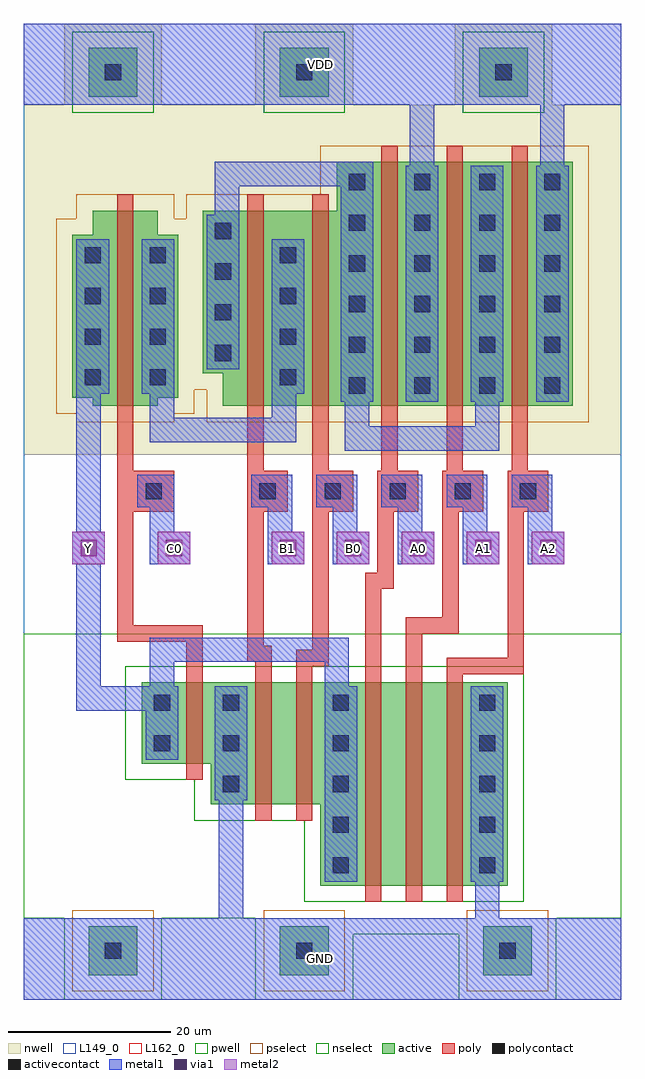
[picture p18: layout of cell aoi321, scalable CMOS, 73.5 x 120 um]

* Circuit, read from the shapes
.subckt aoi321 A0 A1 A2 B0 B1 C0 GND VDD Y
M1 GND C0 Y GND nfet w=10u l=2u
M2 n1 B1 GND GND nfet w=15u l=2u
M3 Y B0 n1 GND nfet w=15u l=2u
M4 n2 A0 Y GND nfet w=25u l=2u
M5 n3 A1 n2 GND nfet w=25u l=2u
M6 GND A2 n3 GND nfet w=25u l=2u
M7 n4 C0 Y VDD pfet w=24u l=2u
M8 n4 B1 n5 VDD pfet w=24u l=2u
M9 n5 B0 n4 VDD pfet w=24u l=2u
M10 VDD A0 n5 VDD pfet w=30u l=2u
M11 n5 A1 VDD VDD pfet w=30u l=2u
M12 VDD A2 n5 VDD pfet w=30u l=2u
.ends

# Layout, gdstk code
import gdstk
lib = gdstk.Library(unit=1e-6, precision=1e-09)
def R(c, l, rs):  # rectangles x0, y0, x1, y1
    for r in rs: c.add(gdstk.rectangle(r[:2], r[2:], *l))
def A(c, l, x, y, w, h, nx, ny, dx, dy):  # array of equal rectangles
    R(c, l, [(x+i*dx, y+j*dy, x+i*dx+w, y+j*dy+h) for i in range(nx) for j in range(ny)])
def P(c, l, *ps):  # polygons
    for p in ps: c.add(gdstk.Polygon(p, *l))
pwell = (41, 0)
nwell = (42, 0)
active = (43, 0)
pselect = (44, 0)
nselect = (45, 0)
poly = (46, 0)
polycontact = (47, 0)
activecontact = (48, 0)
metal1 = (49, 0)
via1 = (50, 0)
metal2 = (51, 0)
L149_0 = (149, 0)
L162_0 = (162, 0)

nwell_contact = lib.new_cell('nwell_contact')
R(nwell_contact, nwell, [(-6,-5,6,6)])
R(nwell_contact, active, [(-3,-3,3,3)])
R(nwell_contact, nselect, [(-5,-5,5,5)])
R(nwell_contact, activecontact, [(-1,-1,1,1)])

pwell_contact = lib.new_cell('pwell_contact')
R(pwell_contact, pwell, [(-6,-6,6,5)])
R(pwell_contact, active, [(-3,-3,3,3)])
R(pwell_contact, pselect, [(-5,-5,5,5)])
R(pwell_contact, activecontact, [(-1,-1,1,1)])

via = lib.new_cell('via')
R(via, metal1, [(-2,-2,2,2)])
R(via, via1, [(-1,-1,1,1)])
R(via, metal2, [(-2,-2,2,2)])

aoi321 = lib.new_cell('aoi321')
R(aoi321, pwell, [(0,10,73.5,45), (0,10,73.5,20)])
P(aoi321, pwell, [(30.5,8),(30.5,18),(17,18),(17,23),(8.5,23),(8.5,45),(65.5,45),(65.5,8)])
R(aoi321, nwell, [(0,67,73.5,110), (0,95,73.5,110)])
P(aoi321, nwell, [(2.5,67),(2.5,68),(0,68),(0,100),(2.5,100),(2.5,103),(22.5,103),(22.5,100),(25,100),(25,68),(22.5,68),(22.5,67)],
  [(18.5,67),(18.5,71),(16,71),(16,103),(32.5,103),(32.5,109),(73.5,109),(73.5,67)])
R(aoi321, active, [(54,14,59.5,39), (14.5,29,20,39), (62,73,67.5,103)])
P(aoi321, active, [(13.5,73),(13.5,97),(16.5,97),(16.5,94),(19,94),(19,74),(16.5,74),(16.5,73)],
  [(8.5,73),(8.5,74),(6,74),(6,94),(8.5,94),(8.5,97),(16.5,97),(16.5,94),(19,94),(19,74),(16.5,74),(16.5,73)],
  [(8.5,73),(8.5,74),(6,74),(6,94),(8.5,94),(8.5,97),(11.5,97),(11.5,73)],
  [(36.5,14),(36.5,24),(23,24),(23,29),(14.5,29),(14.5,39),(59.5,39),(59.5,14)],
  [(24.5,73),(24.5,77),(22,77),(22,97),(38.5,97),(38.5,103),(67.5,103),(67.5,73)],
  [(24.5,73),(24.5,77),(22,77),(22,97),(27.5,97),(27.5,73)])
P(aoi321, pselect, [(6.5,71),(6.5,72),(4,72),(4,96),(6.5,96),(6.5,99),(18.5,99),(18.5,96),(21,96),(21,72),(18.5,72),(18.5,71)],
  [(22.5,71),(22.5,75),(20,75),(20,99),(36.5,99),(36.5,105),(69.5,105),(69.5,71)])
P(aoi321, nselect, [(34.5,12),(34.5,22),(21,22),(21,27),(12.5,27),(12.5,41),(61.5,41),(61.5,12)])
A(aoi321, poly, 42, 12, 2, 2, 3, 2, 5, 27)
A(aoi321, poly, 42, 14, 2, 25, 3, 1, 5, 0)
A(aoi321, poly, 27.5, 60, 5, 5, 5, 1, 8, 0)
A(aoi321, poly, 44, 71, 2, 2, 3, 2, 8, 32)
A(aoi321, poly, 44, 73, 2, 30, 3, 1, 8, 0)
R(aoi321, poly, [(28.5,22,30.5,24), (33.5,22,35.5,24), (28.5,24,30.5,39), (33.5,24,35.5,39), (20,27,22,29), (20,29,22,39), (20,39,22,41), (28.5,39,30.5,41), (33.5,39,35.5,41), (13.5,60,18.5,65), (11.5,71,13.5,73), (27.5,71,29.5,73), (35.5,71,37.5,73), (11.5,73,13.5,97), (27.5,73,29.5,97), (35.5,73,37.5,97), (11.5,97,13.5,99), (27.5,97,29.5,99), (35.5,97,37.5,99)])
A(aoi321, polycontact, 29, 61.5, 2, 2, 5, 1, 8, 0)
R(aoi321, polycontact, [(15,61.5,17,63.5)])
A(aoi321, activecontact, 38, 15.5, 2, 2, 1, 5, 0, 5)
A(aoi321, activecontact, 56, 15.5, 2, 2, 1, 5, 0, 5)
A(aoi321, activecontact, 24.5, 25.5, 2, 2, 1, 3, 0, 5)
A(aoi321, activecontact, 40, 74.5, 2, 2, 4, 6, 8, 5)
A(aoi321, activecontact, 7.5, 75.5, 2, 2, 1, 4, 0, 5)
A(aoi321, activecontact, 15.5, 75.5, 2, 2, 1, 4, 0, 5)
A(aoi321, activecontact, 31.5, 75.5, 2, 2, 1, 4, 0, 5)
A(aoi321, activecontact, 23.5, 78.5, 2, 2, 1, 4, 0, 5)
R(aoi321, activecontact, [(16,30.5,18,32.5), (16,35.5,18,37.5)])
A(aoi321, metal1, 28, 60.5, 4, 4, 5, 1, 8, 0)
A(aoi321, metal1, 39, 73.5, 4, 29, 4, 1, 8, 0)
R(aoi321, metal1, [(0,0,73.5,10), (37,14.5,41,38.5), (55,14.5,59,38.5), (23.5,24.5,27.5,38.5), (15,29.5,19,38.5), (14,60.5,18,64.5), (6.5,74.5,10.5,93.5), (14.5,74.5,18.5,93.5), (30.5,74.5,34.5,93.5), (22.5,77.5,26.5,96.5), (0,110,73.5,120), (0,110,73.5,120)])
A(aoi321, metal2, 30.5, 53.5, 4, 4, 5, 1, 8, 0)
R(aoi321, metal2, [(6,53.5,10,57.5), (16.5,53.5,20.5,57.5)])
A(aoi321, L149_0, 28, 60.5, 4, 4, 5, 1, 8, 0)
R(aoi321, L149_0, [(0,0,73.5,120), (14,60.5,18,64.5)])
A(aoi321, L162_0, 30.5, 53.5, 4, 4, 5, 1, 8, 0)
R(aoi321, L162_0, [(6,53.5,10,57.5), (16.5,53.5,20.5,57.5)])
aoi321.add(gdstk.FlexPath([(65,102.5),(65,110)], 3, ends="flush", simple_path=True, layer=149, datatype=0))  # L149_0
aoi321.add(gdstk.FlexPath([(49,102.5),(49,110)], 3, ends="flush", simple_path=True, layer=149, datatype=0))  # L149_0
aoi321.add(gdstk.FlexPath([(25,96.5),(25,101.5),(43,101.5)], 3, ends="flush", simple_path=True, layer=149, datatype=0))  # L149_0
aoi321.add(gdstk.FlexPath([(25.5,24.5),(25.5,10)], 3, ends="flush", simple_path=True, layer=149, datatype=0))  # L149_0
aoi321.add(gdstk.FlexPath([(8,74.5),(8,37),(15,37)], 3, ends="flush", simple_path=True, layer=149, datatype=0))  # L149_0
aoi321.add(gdstk.FlexPath([(63.5,64.5),(63.5,53.5)], 3, ends="flush", simple_path=True, layer=149, datatype=0))  # L149_0
aoi321.add(gdstk.FlexPath([(41,73.5),(41,69),(57,69),(57,73.5)], 3, ends="flush", simple_path=True, layer=149, datatype=0))  # L149_0
aoi321.add(gdstk.FlexPath([(17,53.5),(17,64.5)], 3, ends="flush", simple_path=True, layer=149, datatype=0))  # L149_0
aoi321.add(gdstk.FlexPath([(31.5,64.5),(31.5,53.5)], 3, ends="flush", simple_path=True, layer=149, datatype=0))  # L149_0
aoi321.add(gdstk.FlexPath([(39.5,64.5),(39.5,53.5)], 3, ends="flush", simple_path=True, layer=149, datatype=0))  # L149_0
aoi321.add(gdstk.FlexPath([(47.5,64.5),(47.5,53.5)], 3, ends="flush", simple_path=True, layer=149, datatype=0))  # L149_0
aoi321.add(gdstk.FlexPath([(17,74.5),(17,70),(32,70),(32,74.5)], 3, ends="flush", simple_path=True, layer=149, datatype=0))  # L149_0
aoi321.add(gdstk.FlexPath([(57,14.5),(57,10)], 3, ends="flush", simple_path=True, layer=149, datatype=0))  # L149_0
aoi321.add(gdstk.FlexPath([(55.5,64.5),(55.5,53.5)], 3, ends="flush", simple_path=True, layer=149, datatype=0))  # L149_0
aoi321.add(gdstk.FlexPath([(38.5,38.5),(38.5,43),(17,43),(17,38.5)], 3, ends="flush", simple_path=True, layer=149, datatype=0))  # L149_0
aoi321.add(gdstk.FlexPath([(49,102.5),(49,110)], 3, ends="flush", simple_path=True, layer=49, datatype=0))  # metal1
aoi321.add(gdstk.FlexPath([(25,96.5),(25,101.5),(43,101.5)], 3, ends="flush", simple_path=True, layer=49, datatype=0))  # metal1
aoi321.add(gdstk.FlexPath([(25.5,24.5),(25.5,10)], 3, ends="flush", simple_path=True, layer=49, datatype=0))  # metal1
aoi321.add(gdstk.FlexPath([(8,74.5),(8,37),(15,37)], 3, ends="flush", simple_path=True, layer=49, datatype=0))  # metal1
aoi321.add(gdstk.FlexPath([(63.5,64.5),(63.5,53.5)], 3, ends="flush", simple_path=True, layer=49, datatype=0))  # metal1
aoi321.add(gdstk.FlexPath([(65,102.5),(65,110)], 3, ends="flush", simple_path=True, layer=49, datatype=0))  # metal1
aoi321.add(gdstk.FlexPath([(17,53.5),(17,64.5)], 3, ends="flush", simple_path=True, layer=49, datatype=0))  # metal1
aoi321.add(gdstk.FlexPath([(31.5,64.5),(31.5,53.5)], 3, ends="flush", simple_path=True, layer=49, datatype=0))  # metal1
aoi321.add(gdstk.FlexPath([(39.5,64.5),(39.5,53.5)], 3, ends="flush", simple_path=True, layer=49, datatype=0))  # metal1
aoi321.add(gdstk.FlexPath([(47.5,64.5),(47.5,53.5)], 3, ends="flush", simple_path=True, layer=49, datatype=0))  # metal1
aoi321.add(gdstk.FlexPath([(17,74.5),(17,70),(32,70),(32,74.5)], 3, ends="flush", simple_path=True, layer=49, datatype=0))  # metal1
aoi321.add(gdstk.FlexPath([(57,14.5),(57,10)], 3, ends="flush", simple_path=True, layer=49, datatype=0))  # metal1
aoi321.add(gdstk.FlexPath([(55.5,64.5),(55.5,53.5)], 3, ends="flush", simple_path=True, layer=49, datatype=0))  # metal1
aoi321.add(gdstk.FlexPath([(38.5,38.5),(38.5,43),(17,43),(17,38.5)], 3, ends="flush", simple_path=True, layer=49, datatype=0))  # metal1
aoi321.add(gdstk.FlexPath([(41,73.5),(41,69),(57,69),(57,73.5)], 3, ends="flush", simple_path=True, layer=49, datatype=0))  # metal1
aoi321.add(gdstk.FlexPath([(48,41),(48,46),(52.5,46),(52.5,60)], 2, ends="flush", simple_path=True, layer=46, datatype=0))  # poly
aoi321.add(gdstk.FlexPath([(52,41),(60.5,41),(60.5,60)], 2, ends="flush", simple_path=True, layer=46, datatype=0))  # poly
aoi321.add(gdstk.FlexPath([(36.5,71),(36.5,42),(34.5,42),(34.5,41)], 2, ends="flush", simple_path=True, layer=46, datatype=0))  # poly
aoi321.add(gdstk.FlexPath([(21,41),(21,45),(12.5,45),(12.5,71)], 2, ends="flush", simple_path=True, layer=46, datatype=0))  # poly
aoi321.add(gdstk.FlexPath([(28.5,71),(28.5,42.5),(29.5,42.5),(29.5,41)], 2, ends="flush", simple_path=True, layer=46, datatype=0))  # poly
aoi321.add(gdstk.FlexPath([(43,41),(43,51.5),(44.5,51.5),(44.5,60)], 2, ends="flush", simple_path=True, layer=46, datatype=0))  # poly
aoi321.add(gdstk.FlexPath([(61,71),(61,65)], 2, ends="flush", simple_path=True, layer=46, datatype=0))  # poly
aoi321.add(gdstk.FlexPath([(53,71),(53,65)], 2, ends="flush", simple_path=True, layer=46, datatype=0))  # poly
aoi321.add(gdstk.FlexPath([(45,65),(45,71)], 2, ends="flush", simple_path=True, layer=46, datatype=0))  # poly
aoi321.add(gdstk.Reference(nwell_contact, (11,114)))
aoi321.add(gdstk.Reference(nwell_contact, (59,114)))
aoi321.add(gdstk.Reference(nwell_contact, (34.5,114)))
aoi321.add(gdstk.Reference(pwell_contact, (11,6)))
aoi321.add(gdstk.Reference(pwell_contact, (59.5,6)))
aoi321.add(gdstk.Reference(pwell_contact, (34.5,6)))
aoi321.add(gdstk.Reference(via, (18.5,55.5), x_reflection=True))
aoi321.add(gdstk.Reference(via, (56.5,55.5), x_reflection=True))
aoi321.add(gdstk.Reference(via, (64.5,55.5), x_reflection=True))
aoi321.add(gdstk.Reference(via, (48.5,55.5), x_reflection=True))
aoi321.add(gdstk.Reference(via, (40.5,55.5), x_reflection=True))
aoi321.add(gdstk.Reference(via, (32.5,55.5), x_reflection=True))
aoi321.add(gdstk.Reference(via, (8,55.5)))
aoi321.add(gdstk.Label('GND', (36.5,5), layer=2, texttype=0))
aoi321.add(gdstk.Label('VDD', (36.5,115), layer=2, texttype=0))
aoi321.add(gdstk.Label('C0', (18.5,55.5), layer=3, texttype=0))
aoi321.add(gdstk.Label('Y', (8,55.5), layer=3, texttype=0))
aoi321.add(gdstk.Label('A2', (64.5,55.5), layer=3, texttype=0))
aoi321.add(gdstk.Label('B1', (32.5,55.5), layer=3, texttype=0))
aoi321.add(gdstk.Label('B0', (40.5,55.5), layer=3, texttype=0))
aoi321.add(gdstk.Label('A0', (48.5,55.5), layer=3, texttype=0))
aoi321.add(gdstk.Label('A1', (56.5,55.5), layer=3, texttype=0))

lib.write_gds('aoi321.gds')
